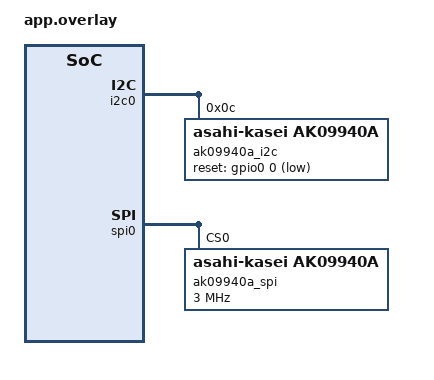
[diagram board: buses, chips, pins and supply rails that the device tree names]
/*
 * SPDX-FileCopyrightText: Copyright The Zephyr Project Contributors
 * SPDX-License-Identifier: Apache-2.0
 */

&i2c0 {
	ak09940a_i2c: ak09940a@c {
		compatible = "asahi-kasei,ak09940a";
		reg = <0x0c>;
		reset-gpios = <&gpio0 0 GPIO_ACTIVE_LOW>;
		sensor-drive = "low-noise-2";
	};
};

&spi0 {
	ak09940a_spi: ak09940a@0 {
		compatible = "asahi-kasei,ak09940a";
		reg = <0>;
		spi-max-frequency = <3000000>;
		sensor-drive = "ultra-low-power";
	};
};
